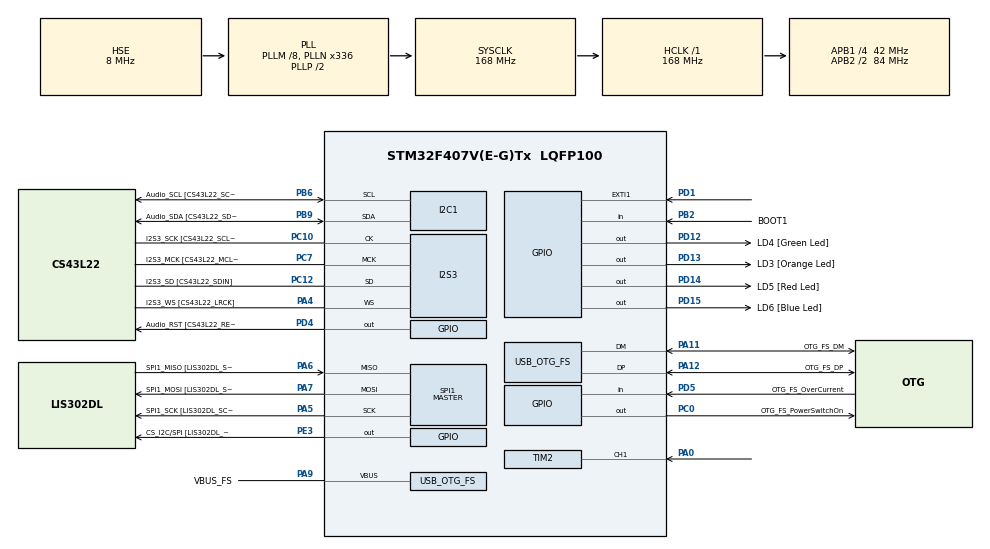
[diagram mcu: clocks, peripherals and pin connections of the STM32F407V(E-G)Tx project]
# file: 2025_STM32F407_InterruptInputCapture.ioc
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I2S3.AudioFreq-Half_Duplex_Master=I2S_AUDIOFREQ_96K
I2S3.ErrorAudioFreq=-2.34 %
I2S3.ErrorAudioFreq-Half_Duplex_Master=0.8 %
I2S3.FullDuplexMode=I2S_FULLDUPLEXMODE_DISABLE
I2S3.Instance=SPI$Index
I2S3.RealAudioFreq=93.75 KHz
I2S3.RealAudioFreq-Half_Duplex_Master=96.774 KHz
I2S3.VirtualMode=I2S_MODE_MASTER
Mcu.Family=STM32F4
Mcu.Name=STM32F407V(E-G)Tx
Mcu.Package=LQFP100
NVIC.EXTI1_IRQn=true\:0\:0\:false\:false\:true\:true\:true\:true
NVIC.OTG_FS_IRQn=true\:0\:0\:false\:false\:true\:true\:true\:true
NVIC.PriorityGroup=NVIC_PRIORITYGROUP_0
NVIC.TIM2_IRQn=true\:0\:0\:false\:false\:true\:true\:true\:true
PA0-WKUP.Signal=S_TIM2_CH1_ETR
PA10.GPIO_Label=OTG_FS_ID
PA10.GPIO_Mode=GPIO_MODE_AF_PP
PA10.GPIO_PuPd=GPIO_NOPULL
PA10.GPIO_Speed=GPIO_SPEED_FREQ_LOW
PA10.Signal=USB_OTG_FS_ID
PA11.GPIO_Label=OTG_FS_DM
PA11.GPIO_Mode=GPIO_MODE_AF_PP
PA11.GPIO_PuPd=GPIO_NOPULL
PA11.GPIO_Speed=GPIO_SPEED_FREQ_LOW
PA11.Mode=Host_Only
PA11.Signal=USB_OTG_FS_DM
PA12.GPIO_Label=OTG_FS_DP
PA12.GPIO_Mode=GPIO_MODE_AF_PP
PA12.GPIO_PuPd=GPIO_NOPULL
PA12.GPIO_Speed=GPIO_SPEED_FREQ_LOW
PA12.Mode=Host_Only
PA12.Signal=USB_OTG_FS_DP
PA13.GPIO_Label=SWDIO
PA13.Mode=Serial_Wire
PA13.Signal=SYS_JTMS-SWDIO
PA14.GPIO_Label=SWCLK
PA14.Mode=Serial_Wire
PA14.Signal=SYS_JTCK-SWCLK
PA4.GPIO_Label=I2S3_WS [CS43L22_LRCK]
PA4.GPIO_Mode=GPIO_MODE_AF_PP
PA4.GPIO_PuPd=GPIO_NOPULL
PA4.GPIO_Speed=GPIO_SPEED_FREQ_LOW
PA4.Mode=Half_Duplex_Master
PA4.Signal=I2S3_WS
PA5.GPIO_Label=SPI1_SCK [LIS302DL_SCL/SPC]
PA5.GPIO_Mode=GPIO_MODE_AF_PP
PA5.GPIO_PuPd=GPIO_NOPULL
PA5.GPIO_Speed=GPIO_SPEED_FREQ_LOW
PA5.Mode=Full_Duplex_Master
PA5.Signal=SPI1_SCK
PA6.GPIO_Label=SPI1_MISO [LIS302DL_SDO]
PA6.GPIO_Mode=GPIO_MODE_AF_PP
PA6.GPIO_PuPd=GPIO_NOPULL
PA6.GPIO_Speed=GPIO_SPEED_FREQ_LOW
PA6.Mode=Full_Duplex_Master
PA6.Signal=SPI1_MISO
PA7.GPIO_Label=SPI1_MOSI [LIS302DL_SDA/SDI/SDO]
PA7.GPIO_Mode=GPIO_MODE_AF_PP
PA7.GPIO_PuPd=GPIO_NOPULL
PA7.GPIO_Speed=GPIO_SPEED_FREQ_LOW
PA7.Mode=Full_Duplex_Master
PA7.Signal=SPI1_MOSI
PA9.GPIO_Label=VBUS_FS
PA9.GPIO_Mode=GPIO_MODE_INPUT
PA9.GPIO_PuPd=GPIO_NOPULL
PA9.Mode=Activate_VBUS
PA9.Signal=USB_OTG_FS_VBUS
PB10.GPIO_Label=CLK_IN [MP45DT02_CLK]
PB10.GPIO_Mode=GPIO_MODE_AF_PP
PB10.GPIO_PuPd=GPIO_NOPULL
PB10.GPIO_Speed=GPIO_SPEED_FREQ_LOW
PB10.Signal=I2S2_CK
PB2.GPIO_Label=BOOT1
PB2.GPIO_Mode=GPIO_MODE_INPUT
PB2.GPIO_PuPd=GPIO_NOPULL
PB2.Signal=GPIO_Input
PB3.GPIO_Label=SWO
PB3.Signal=SYS_JTDO-SWO
PB6.GPIO_Label=Audio_SCL [CS43L22_SCL]
PB6.GPIO_Mode=GPIO_MODE_AF_OD
PB6.GPIO_Pu=GPIO_PULLUP
PB6.GPIO_PuPd=GPIO_NOPULL
PB6.GPIO_Speed=GPIO_SPEED_FREQ_LOW
PB6.Mode=I2C
PB6.Signal=I2C1_SCL
PB9.GPIO_Label=Audio_SDA [CS43L22_SDA]
PB9.GPIO_Mode=GPIO_MODE_AF_OD
PB9.GPIO_Pu=GPIO_PULLUP
PB9.GPIO_PuPd=GPIO_NOPULL
PB9.GPIO_Speed=GPIO_SPEED_FREQ_LOW
PB9.Mode=I2C
PB9.Signal=I2C1_SDA
PC0.GPIO_Label=OTG_FS_PowerSwitchOn
PC0.GPIO_PuPd=GPIO_NOPULL
PC0.GPIO_Speed=GPIO_SPEED_FREQ_LOW
PC0.PinState=GPIO_PIN_SET
PC0.Signal=GPIO_Output
PC10.GPIO_Label=I2S3_SCK [CS43L22_SCLK]
PC10.GPIO_Mode=GPIO_MODE_AF_PP
PC10.GPIO_PuPd=GPIO_NOPULL
PC10.GPIO_Speed=GPIO_SPEED_FREQ_LOW
PC10.Mode=Half_Duplex_Master
PC10.Signal=I2S3_CK
PC12.GPIO_Label=I2S3_SD [CS43L22_SDIN]
PC12.GPIO_Mode=GPIO_MODE_AF_PP
PC12.GPIO_PuPd=GPIO_NOPULL
PC12.GPIO_Speed=GPIO_SPEED_FREQ_LOW
PC12.Mode=Half_Duplex_Master
PC12.Signal=I2S3_SD
PC14-OSC32_IN.GPIO_Label=PC14-OSC32_IN
PC14-OSC32_IN.Mode=LSE-External-Oscillator
PC14-OSC32_IN.Signal=RCC_OSC32_IN
PC15-OSC32_OUT.GPIO_Label=PC15-OSC32_OUT
PC15-OSC32_OUT.Mode=LSE-External-Oscillator
PC15-OSC32_OUT.Signal=RCC_OSC32_OUT
PC3.GPIO_Label=PDM_OUT [MP45DT02_DOUT]
PC3.GPIO_Mode=GPIO_MODE_AF_PP
PC3.GPIO_PuPd=GPIO_NOPULL
PC3.GPIO_Speed=GPIO_SPEED_FREQ_LOW
PC3.Signal=I2S2_SD
PC7.GPIO_Label=I2S3_MCK [CS43L22_MCLK]
PC7.GPIO_Mode=GPIO_MODE_AF_PP
PC7.GPIO_PuPd=GPIO_NOPULL
PC7.GPIO_Speed=GPIO_SPEED_FREQ_LOW
PC7.Mode=Master_Clock_Activated
PC7.Signal=I2S3_MCK
PD1.GPIO_ModeDefaultEXTI=GPIO_MODE_IT_RISING_FALLING
PD1.GPIO_PuPd=GPIO_PULLDOWN
PD1.Signal=GPXTI1
PD12.GPIO_Label=LD4 [Green Led]
PD12.GPIO_PuPd=GPIO_NOPULL
PD12.GPIO_Speed=GPIO_SPEED_FREQ_LOW
PD12.Signal=GPIO_Output
PD13.GPIO_Label=LD3 [Orange Led]
PD13.GPIO_PuPd=GPIO_NOPULL
PD13.GPIO_Speed=GPIO_SPEED_FREQ_LOW
PD13.Signal=GPIO_Output
PD14.GPIO_Label=LD5 [Red Led]
PD14.GPIO_PuPd=GPIO_NOPULL
PD14.GPIO_Speed=GPIO_SPEED_FREQ_LOW
PD14.Signal=GPIO_Output
PD15.GPIO_Label=LD6 [Blue Led]
PD15.GPIO_PuPd=GPIO_NOPULL
PD15.GPIO_Speed=GPIO_SPEED_FREQ_LOW
PD15.Signal=GPIO_Output
PD4.GPIO_Label=Audio_RST [CS43L22_RESET]
PD4.GPIO_PuPd=GPIO_NOPULL
PD4.GPIO_Speed=GPIO_SPEED_FREQ_LOW
PD4.Signal=GPIO_Output
PD5.GPIO_Label=OTG_FS_OverCurrent
PD5.GPIO_Mode=GPIO_MODE_INPUT
PD5.GPIO_PuPd=GPIO_NOPULL
PD5.Signal=GPIO_Input
PE3.GPIO_Label=CS_I2C/SPI [LIS302DL_CS_I2C/SPI]
PE3.GPIO_PuPd=GPIO_NOPULL
PE3.GPIO_Speed=GPIO_SPEED_FREQ_LOW
PE3.Signal=GPIO_Output
PH0-OSC_IN.GPIO_Label=PH0-OSC_IN
PH0-OSC_IN.Mode=HSE-External-Oscillator
PH0-OSC_IN.Signal=RCC_OSC_IN
PH1-OSC_OUT.GPIO_Label=PH1-OSC_OUT
PH1-OSC_OUT.Mode=HSE-External-Oscillator
PH1-OSC_OUT.Signal=RCC_OSC_OUT
ProjectManager.HeapSize=0x200
ProjectManager.StackSize=0x400
ProjectManager.TargetToolchain=STM32CubeIDE
RCC.48MHZClocksFreq_Value=48000000
RCC.AHBFreq_Value=168000000
RCC.APB1CLKDivider=RCC_HCLK_DIV4
RCC.APB1Freq_Value=42000000
RCC.APB1TimFreq_Value=84000000
RCC.APB2CLKDivider=RCC_HCLK_DIV2
RCC.APB2Freq_Value=84000000
RCC.APB2TimFreq_Value=168000000
RCC.CortexFreq_Value=168000000
RCC.HCLKFreq_Value=168000000
RCC.HSE_VALUE=8000000
RCC.HSI_VALUE=16000000
RCC.PLLM=8
RCC.PLLN=336
RCC.PLLQ=7
RCC.SYSCLKFreq_VALUE=168000000
RCC.SYSCLKSource=RCC_SYSCLKSOURCE_PLLCLK
RCC.VCOOutputFreq_Value=336000000
SH.S_TIM2_CH1_ETR.0=TIM2_CH1,Input_Capture1_from_TI1
SPI1.BaudRatePrescaler-Full_Duplex_Master=SPI_BAUDRATEPRESCALER_2
SPI1.CalculateBaudRate-Full_Duplex_Master=42.0 MBits/s
SPI1.Direction=SPI_DIRECTION_2LINES
SPI1.Mode=SPI_MODE_MASTER
SPI1.Mode-Full_Duplex_Master=SPI_MODE_MASTER
SPI1.VirtualType=VM_MASTER
TIM2.Channel-Input_Capture1_from_TI1=TIM_CHANNEL_1
TIM2.Prescaler=8399
USB_HOST.BSP.number=1
USB_HOST.USBH_HandleTypeDef-CDC_FS=hUsbHostFS
USB_HOST.VirtualModeFS=Cdc
USB_HOST0.BSP.STBoard=false
USB_HOST0.BSP.api=Unknown
USB_HOST0.BSP.instance=PC0
USB_HOST0.BSP.ip=GPIO
USB_HOST0.BSP.mode=Output
USB_HOST0.BSP.name=Drive_VBUS_FS
USB_HOST0.BSP.solution=PC0
USB_OTG_FS.VirtualMode=Host_Only
USB_OTG_FS.phy_itface=HCD_PHY_EMBEDDED
VP_USB_HOST_VS_USB_HOST_CDC_FS.Mode=CDC_FS
board=STM32F407G-DISC1

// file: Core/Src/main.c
/* USER CODE BEGIN Header */
/**
  ******************************************************************************
  * @file           : main.c
  * @brief          : Main program body
  ******************************************************************************
  * @attention
  *
  * Copyright (c) 2025 STMicroelectronics.
  * All rights reserved.
  *
  * This software is licensed under terms that can be found in the LICENSE file
  * in the root directory of this software component.
  * If no LICENSE file comes with this software, it is provided AS-IS.
  *
  ******************************************************************************
  */
/* USER CODE END Header */
#include "main.h"
#include "usb_host.h"

I2C_HandleTypeDef hi2c1;

I2S_HandleTypeDef hi2s3;

SPI_HandleTypeDef hspi1;

TIM_HandleTypeDef htim2;

/* USER CODE BEGIN PV */

uint8_t gCaptureFlag;
uint32_t gCaptureValue1;
uint32_t gCaptureValue2;
uint32_t gPeriod;

/* USER CODE END PV */

void SystemClock_Config(void);
static void MX_GPIO_Init(void);
static void MX_I2C1_Init(void);
static void MX_I2S3_Init(void);
static void MX_SPI1_Init(void);
static void MX_TIM2_Init(void);
void MX_USB_HOST_Process(void);

int main(void)
{

  /* MCU Configuration--------------------------------------------------------*/

  /* Reset of all peripherals, Initializes the Flash interface and the Systick. */
  HAL_Init();

  /* Configure the system clock */
  SystemClock_Config();

  /* Initialize all configured peripherals */
  MX_GPIO_Init();
  MX_I2C1_Init();
  MX_I2S3_Init();
  MX_SPI1_Init();
  MX_USB_HOST_Init();
  MX_TIM2_Init();
  /* USER CODE BEGIN 2 */

  HAL_TIM_IC_Start_IT(&htim2, TIM_CHANNEL_1);

  /* USER CODE END 2 */

  /* Infinite loop */
  while (1)
  {
    MX_USB_HOST_Process();

  }
}

void SystemClock_Config(void)
{
  RCC_OscInitTypeDef RCC_OscInitStruct = {0};
  RCC_ClkInitTypeDef RCC_ClkInitStruct = {0};

  /** Configure the main internal regulator output voltage
  */
  __HAL_RCC_PWR_CLK_ENABLE();
  __HAL_PWR_VOLTAGESCALING_CONFIG(PWR_REGULATOR_VOLTAGE_SCALE1);

  /** Initializes the RCC Oscillators according to the specified parameters
  * in the RCC_OscInitTypeDef structure.
  */
  RCC_OscInitStruct.OscillatorType = RCC_OSCILLATORTYPE_HSE;
  RCC_OscInitStruct.HSEState = RCC_HSE_ON;
  RCC_OscInitStruct.PLL.PLLState = RCC_PLL_ON;
  RCC_OscInitStruct.PLL.PLLSource = RCC_PLLSOURCE_HSE;
  RCC_OscInitStruct.PLL.PLLM = 8;
  RCC_OscInitStruct.PLL.PLLN = 336;
  RCC_OscInitStruct.PLL.PLLP = RCC_PLLP_DIV2;
  RCC_OscInitStruct.PLL.PLLQ = 7;
  if (HAL_RCC_OscConfig(&RCC_OscInitStruct) != HAL_OK)
  {
    Error_Handler();
  }

  /** Initializes the CPU, AHB and APB buses clocks
  */
  RCC_ClkInitStruct.ClockType = RCC_CLOCKTYPE_HCLK|RCC_CLOCKTYPE_SYSCLK
                              |RCC_CLOCKTYPE_PCLK1|RCC_CLOCKTYPE_PCLK2;
  RCC_ClkInitStruct.SYSCLKSource = RCC_SYSCLKSOURCE_PLLCLK;
  RCC_ClkInitStruct.AHBCLKDivider = RCC_SYSCLK_DIV1;
  RCC_ClkInitStruct.APB1CLKDivider = RCC_HCLK_DIV4;
  RCC_ClkInitStruct.APB2CLKDivider = RCC_HCLK_DIV2;

  if (HAL_RCC_ClockConfig(&RCC_ClkInitStruct, FLASH_LATENCY_5) != HAL_OK)
  {
    Error_Handler();
  }
}

static void MX_I2C1_Init(void)
{

  hi2c1.Instance = I2C1;
  hi2c1.Init.ClockSpeed = 100000;
  hi2c1.Init.DutyCycle = I2C_DUTYCYCLE_2;
  hi2c1.Init.OwnAddress1 = 0;
  hi2c1.Init.AddressingMode = I2C_ADDRESSINGMODE_7BIT;
  hi2c1.Init.DualAddressMode = I2C_DUALADDRESS_DISABLE;
  hi2c1.Init.OwnAddress2 = 0;
  hi2c1.Init.GeneralCallMode = I2C_GENERALCALL_DISABLE;
  hi2c1.Init.NoStretchMode = I2C_NOSTRETCH_DISABLE;
  if (HAL_I2C_Init(&hi2c1) != HAL_OK)
  {
    Error_Handler();
  }

}

static void MX_I2S3_Init(void)
{

  hi2s3.Instance = SPI3;
  hi2s3.Init.Mode = I2S_MODE_MASTER_TX;
  hi2s3.Init.Standard = I2S_STANDARD_PHILIPS;
  hi2s3.Init.DataFormat = I2S_DATAFORMAT_16B;
  hi2s3.Init.MCLKOutput = I2S_MCLKOUTPUT_ENABLE;
  hi2s3.Init.AudioFreq = I2S_AUDIOFREQ_96K;
  hi2s3.Init.CPOL = I2S_CPOL_LOW;
  hi2s3.Init.ClockSource = I2S_CLOCK_PLL;
  hi2s3.Init.FullDuplexMode = I2S_FULLDUPLEXMODE_DISABLE;
  if (HAL_I2S_Init(&hi2s3) != HAL_OK)
  {
    Error_Handler();
  }

}

static void MX_SPI1_Init(void)
{

  /* SPI1 parameter configuration*/
  hspi1.Instance = SPI1;
  hspi1.Init.Mode = SPI_MODE_MASTER;
  hspi1.Init.Direction = SPI_DIRECTION_2LINES;
  hspi1.Init.DataSize = SPI_DATASIZE_8BIT;
  hspi1.Init.CLKPolarity = SPI_POLARITY_LOW;
  hspi1.Init.CLKPhase = SPI_PHASE_1EDGE;
  hspi1.Init.NSS = SPI_NSS_SOFT;
  hspi1.Init.BaudRatePrescaler = SPI_BAUDRATEPRESCALER_2;
  hspi1.Init.FirstBit = SPI_FIRSTBIT_MSB;
  hspi1.Init.TIMode = SPI_TIMODE_DISABLE;
  hspi1.Init.CRCCalculation = SPI_CRCCALCULATION_DISABLE;
  hspi1.Init.CRCPolynomial = 10;
  if (HAL_SPI_Init(&hspi1) != HAL_OK)
  {
    Error_Handler();
  }

}

static void MX_TIM2_Init(void)
{

  TIM_MasterConfigTypeDef sMasterConfig = {0};
  TIM_IC_InitTypeDef sConfigIC = {0};

  htim2.Instance = TIM2;
  htim2.Init.Prescaler = 8399;
  htim2.Init.CounterMode = TIM_COUNTERMODE_UP;
  htim2.Init.Period = 4294967295;
  htim2.Init.ClockDivision = TIM_CLOCKDIVISION_DIV1;
  htim2.Init.AutoReloadPreload = TIM_AUTORELOAD_PRELOAD_DISABLE;
  if (HAL_TIM_IC_Init(&htim2) != HAL_OK)
  {
    Error_Handler();
  }
  sMasterConfig.MasterOutputTrigger = TIM_TRGO_RESET;
  sMasterConfig.MasterSlaveMode = TIM_MASTERSLAVEMODE_DISABLE;
  if (HAL_TIMEx_MasterConfigSynchronization(&htim2, &sMasterConfig) != HAL_OK)
  {
    Error_Handler();
  }
  sConfigIC.ICPolarity = TIM_INPUTCHANNELPOLARITY_RISING;
  sConfigIC.ICSelection = TIM_ICSELECTION_DIRECTTI;
  sConfigIC.ICPrescaler = TIM_ICPSC_DIV1;
  sConfigIC.ICFilter = 0;
  if (HAL_TIM_IC_ConfigChannel(&htim2, &sConfigIC, TIM_CHANNEL_1) != HAL_OK)
  {
    Error_Handler();
  }

}

static void MX_GPIO_Init(void)
{
  GPIO_InitTypeDef GPIO_InitStruct = {0};

  /* GPIO Ports Clock Enable */
  __HAL_RCC_GPIOE_CLK_ENABLE();
  __HAL_RCC_GPIOC_CLK_ENABLE();
  __HAL_RCC_GPIOH_CLK_ENABLE();
  __HAL_RCC_GPIOA_CLK_ENABLE();
  __HAL_RCC_GPIOB_CLK_ENABLE();
  __HAL_RCC_GPIOD_CLK_ENABLE();

  /*Configure GPIO pin Output Level */
  HAL_GPIO_WritePin(CS_I2C_SPI_GPIO_Port, CS_I2C_SPI_Pin, GPIO_PIN_RESET);

  /*Configure GPIO pin Output Level */
  HAL_GPIO_WritePin(OTG_FS_PowerSwitchOn_GPIO_Port, OTG_FS_PowerSwitchOn_Pin, GPIO_PIN_SET);

  /*Configure GPIO pin Output Level */
  HAL_GPIO_WritePin(GPIOD, LD4_Pin|LD3_Pin|LD5_Pin|LD6_Pin
                          |Audio_RST_Pin, GPIO_PIN_RESET);

  /*Configure GPIO pin : CS_I2C_SPI_Pin */
  GPIO_InitStruct.Pin = CS_I2C_SPI_Pin;
  GPIO_InitStruct.Mode = GPIO_MODE_OUTPUT_PP;
  GPIO_InitStruct.Pull = GPIO_NOPULL;
  GPIO_InitStruct.Speed = GPIO_SPEED_FREQ_LOW;
  HAL_GPIO_Init(CS_I2C_SPI_GPIO_Port, &GPIO_InitStruct);

  /*Configure GPIO pin : OTG_FS_PowerSwitchOn_Pin */
  GPIO_InitStruct.Pin = OTG_FS_PowerSwitchOn_Pin;
  GPIO_InitStruct.Mode = GPIO_MODE_OUTPUT_PP;
  GPIO_InitStruct.Pull = GPIO_NOPULL;
  GPIO_InitStruct.Speed = GPIO_SPEED_FREQ_LOW;
  HAL_GPIO_Init(OTG_FS_PowerSwitchOn_GPIO_Port, &GPIO_InitStruct);

  /*Configure GPIO pin : PDM_OUT_Pin */
  GPIO_InitStruct.Pin = PDM_OUT_Pin;
  GPIO_InitStruct.Mode = GPIO_MODE_AF_PP;
  GPIO_InitStruct.Pull = GPIO_NOPULL;
  GPIO_InitStruct.Speed = GPIO_SPEED_FREQ_LOW;
  GPIO_InitStruct.Alternate = GPIO_AF5_SPI2;
  HAL_GPIO_Init(PDM_OUT_GPIO_Port, &GPIO_InitStruct);

  /*Configure GPIO pin : BOOT1_Pin */
  GPIO_InitStruct.Pin = BOOT1_Pin;
  GPIO_InitStruct.Mode = GPIO_MODE_INPUT;
  GPIO_InitStruct.Pull = GPIO_NOPULL;
  HAL_GPIO_Init(BOOT1_GPIO_Port, &GPIO_InitStruct);

  /*Configure GPIO pin : CLK_IN_Pin */
  GPIO_InitStruct.Pin = CLK_IN_Pin;
  GPIO_InitStruct.Mode = GPIO_MODE_AF_PP;
  GPIO_InitStruct.Pull = GPIO_NOPULL;
  GPIO_InitStruct.Speed = GPIO_SPEED_FREQ_LOW;
  GPIO_InitStruct.Alternate = GPIO_AF5_SPI2;
  HAL_GPIO_Init(CLK_IN_GPIO_Port, &GPIO_InitStruct);

  /*Configure GPIO pins : LD4_Pin LD3_Pin LD5_Pin LD6_Pin
                           Audio_RST_Pin */
  GPIO_InitStruct.Pin = LD4_Pin|LD3_Pin|LD5_Pin|LD6_Pin
                          |Audio_RST_Pin;
  GPIO_InitStruct.Mode = GPIO_MODE_OUTPUT_PP;
  GPIO_InitStruct.Pull = GPIO_NOPULL;
  GPIO_InitStruct.Speed = GPIO_SPEED_FREQ_LOW;
  HAL_GPIO_Init(GPIOD, &GPIO_InitStruct);

  /*Configure GPIO pin : PD1 */
  GPIO_InitStruct.Pin = GPIO_PIN_1;
  GPIO_InitStruct.Mode = GPIO_MODE_IT_RISING_FALLING;
  GPIO_InitStruct.Pull = GPIO_PULLDOWN;
  HAL_GPIO_Init(GPIOD, &GPIO_InitStruct);

  /*Configure GPIO pin : OTG_FS_OverCurrent_Pin */
  GPIO_InitStruct.Pin = OTG_FS_OverCurrent_Pin;
  GPIO_InitStruct.Mode = GPIO_MODE_INPUT;
  GPIO_InitStruct.Pull = GPIO_NOPULL;
  HAL_GPIO_Init(OTG_FS_OverCurrent_GPIO_Port, &GPIO_InitStruct);

  /* EXTI interrupt init*/
  HAL_NVIC_SetPriority(EXTI1_IRQn, 0, 0);
  HAL_NVIC_EnableIRQ(EXTI1_IRQn);

}

/* USER CODE BEGIN 4 */

void HAL_TIM_IC_CaptureCallback(TIM_HandleTypeDef *htim)
{
	if(htim->Instance == TIM2)
	{
		if(gCaptureFlag == 0)
		{
			//First capture - store the first capture value
			gCaptureValue1 = HAL_TIM_ReadCapturedValue(htim,TIM_CHANNEL_1);
			gCaptureFlag = 1;
		}
		else if(gCaptureFlag == 1)
		{
			//Second Capture - store the second capture value
			gCaptureValue2 = HAL_TIM_ReadCapturedValue(htim,TIM_CHANNEL_1);

			//calculate the period (time between rising edges)
			if (gCaptureValue2 > gCaptureValue1)
			{
				gPeriod = gCaptureValue2 - gCaptureValue1;
			}
			else{
				//Timer overflow handling (wrap-around case)
				gPeriod = (0xFFFF - gCaptureValue1)+ gCaptureValue2 +1;
			}
			//Reset capture flag for the next measurement
			gCaptureFlag = 0;

		}
	}
}

/* USER CODE END 4 */

void Error_Handler(void)
{
  __disable_irq();
  while (1)
  {
  }
}
